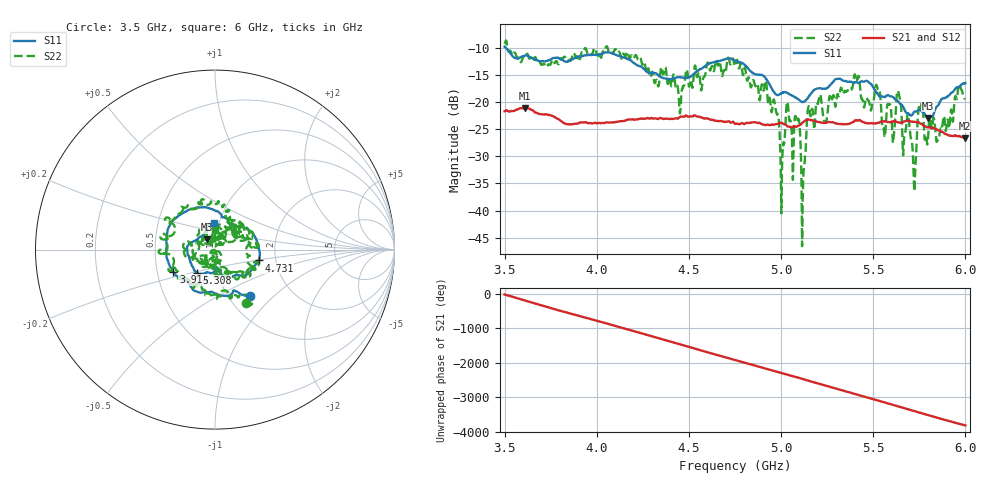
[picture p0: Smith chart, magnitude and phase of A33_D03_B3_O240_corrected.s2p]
! Created with skrf 1.9.0 (http://scikit-rf.org).
# Hz S RI R 50.0
!freq ReS11 ImS11 ReS21 ImS21 ReS12 ImS12 ReS22 ImS22
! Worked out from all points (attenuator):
!   1601 points, 3.5 GHz to 6 GHz, reference 50 ohm
!   highest |S21| = -21.09 dB at 3.611 GHz (marker M1); lowest = -26.6 dB at 5.998 GHz (marker M2)
!   lowest |S11| = -23.0 dB at 5.795 GHz (marker M3), VSWR 1.15, Z = 45.6 + j5.22 ohm
!   |S11| at or under -10 dB: 3.506 GHz to end of sweep
!   |S22| runs from -46.5 to -8.7 dB; largest |S21 - S12| = 0.00096
!   S11 on the Smith chart (normalised r, x): 3.5 GHz: 1.25, -0.72; 3.914 GHz: 0.61, -0.16; 4.731 GHz: 1.62, -0.21; 5.308 GHz: 0.79, -0.21; 6 GHz: 0.94, +0.29
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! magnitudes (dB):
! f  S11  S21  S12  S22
! 3.5 GHz  -9.8  -21.7  -21.7  -9.3
! 3.611 GHz  -11.4  -21.1  -21.1  -11.7
! 3.914 GHz  -11.6  -23.8  -23.7  -11.3
! 3.917 GHz  -11.6  -23.8  -23.8  -10.9
! 4.334 GHz  -15.1  -23.1  -23.1  -17.1
! 4.731 GHz  -12.0  -23.8  -23.7  -12.7
! 4.75 GHz  -12.4  -24.0  -24.0  -13.4
! 4.969 GHz  -18.5  -24.1  -24.1  -21.0
! 5.006 GHz  -18.3  -23.9  -23.9  -30.7
! 5.034 GHz  -18.3  -24.5  -24.4  -20.0
! 5.088 GHz  -19.4  -24.5  -24.5  -23.5
! 5.12 GHz  -20.0  -23.7  -23.6  -34.0
! 5.145 GHz  -19.2  -23.2  -23.2  -21.3
! 5.167 GHz  -18.2  -23.3  -23.3  -21.4
! 5.308 GHz  -15.7  -24.0  -23.9  -18.5
! 5.584 GHz  -18.8  -23.7  -23.7  -20.4
! 5.639 GHz  -20.0  -23.8  -23.7  -18.5
! 5.722 GHz  -21.8  -23.6  -23.6  -35.8
! 5.755 GHz  -21.5  -24.0  -23.9  -21.0
! 5.795 GHz  -23.0  -24.7  -24.6  -27.5
! 5.998 GHz  -16.5  -26.6  -26.6  -19.3
! 6 GHz  -16.5  -26.6  -26.6  -19.3
